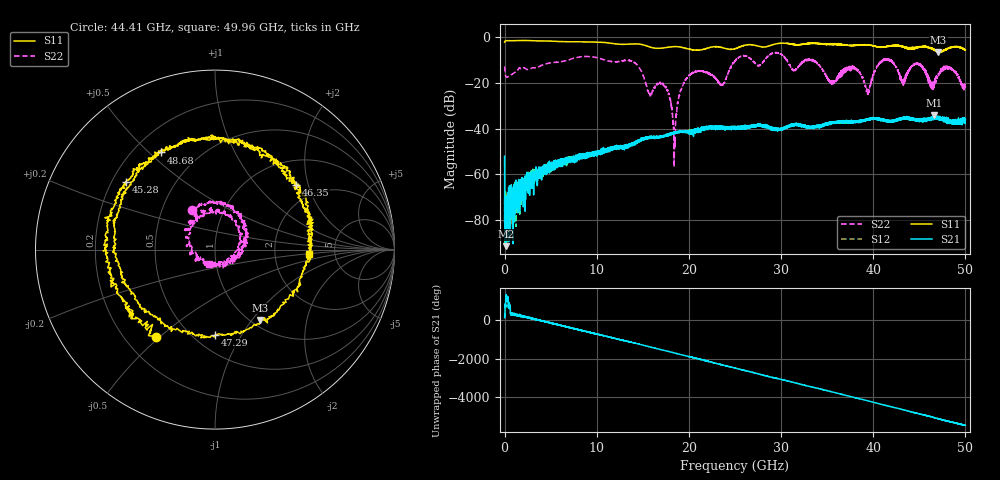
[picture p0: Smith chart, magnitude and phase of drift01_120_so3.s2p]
!Created with skrf (http://scikit-rf.org).
# Hz S RI R 50.0
!freq ReS11 ImS11 ReS21 ImS21 ReS12 ImS12 ReS22 ImS22
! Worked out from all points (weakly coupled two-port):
!   10001 points, 300 kHz to 50 GHz, reference 50 ohm
!   highest |S21| = -34.05 dB at 46.57 GHz (marker M1); lowest = -91.6 dB at 130.3 MHz (marker M2)
!   lowest |S11| = -6.6 dB at 47.08 GHz (marker M3), VSWR 2.75, Z = 55 - j55.1 ohm
!   |S11| at or under -10 dB: nowhere
!   |S22| runs from -56.9 to -6.7 dB; largest |S21 - S12| = 0.0038
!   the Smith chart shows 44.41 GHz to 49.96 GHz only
!   S11 on the Smith chart (normalised r, x): 44.41 GHz: 0.33, -0.48; 45.28 GHz: 0.26, +0.32; 46.35 GHz: 1.53, +1.67; 47.29 GHz: 0.63, -0.78; 48.68 GHz: 0.31, +0.55; 49.96 GHz: 3.20, -0.21
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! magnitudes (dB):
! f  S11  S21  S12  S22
! 300 kHz  -2.1  -52.1  -71.0  -12.8
! 130.3 MHz  -1.5  -91.6  -81.5  -17.2
! 8.335 GHz  -1.9  -52.1  -52.7  -8.5
! 16.67 GHz  -4.8  -43.7  -43.6  -20.0
! 17.74 GHz  -4.3  -42.6  -42.8  -24.2
! 18.45 GHz  -4.1  -41.9  -41.9  -45.3
! 19.95 GHz  -5.1  -41.7  -41.2  -17.1
! 23.6 GHz  -4.5  -39.5  -39.3  -20.8
! 25 GHz  -5.0  -39.9  -39.6  -10.3
! 33.34 GHz  -2.6  -39.4  -39.1  -10.0
! 39.45 GHz  -3.3  -35.9  -36.0  -23.7
! 41.67 GHz  -3.8  -36.6  -36.9  -10.1
! 43.19 GHz  -4.1  -35.5  -35.9  -19.2
! 44.41 GHz  -4.6  -35.8  -36.2  -11.9
! 45.28 GHz  -4.1  -36.6  -36.1  -12.4
! 46.35 GHz  -4.8  -35.8  -35.8  -20.7
! 46.57 GHz  -5.4  -34.1  -35.3  -22.2
! 47.08 GHz  -6.6  -35.6  -35.1  -16.4
! 47.29 GHz  -6.5  -35.0  -35.3  -15.7
! 48.68 GHz  -4.2  -37.2  -37.6  -14.0
! 49.96 GHz  -5.6  -36.1  -36.0  -21.4
! 50 GHz  -5.5  -35.9  -36.8  -21.5
